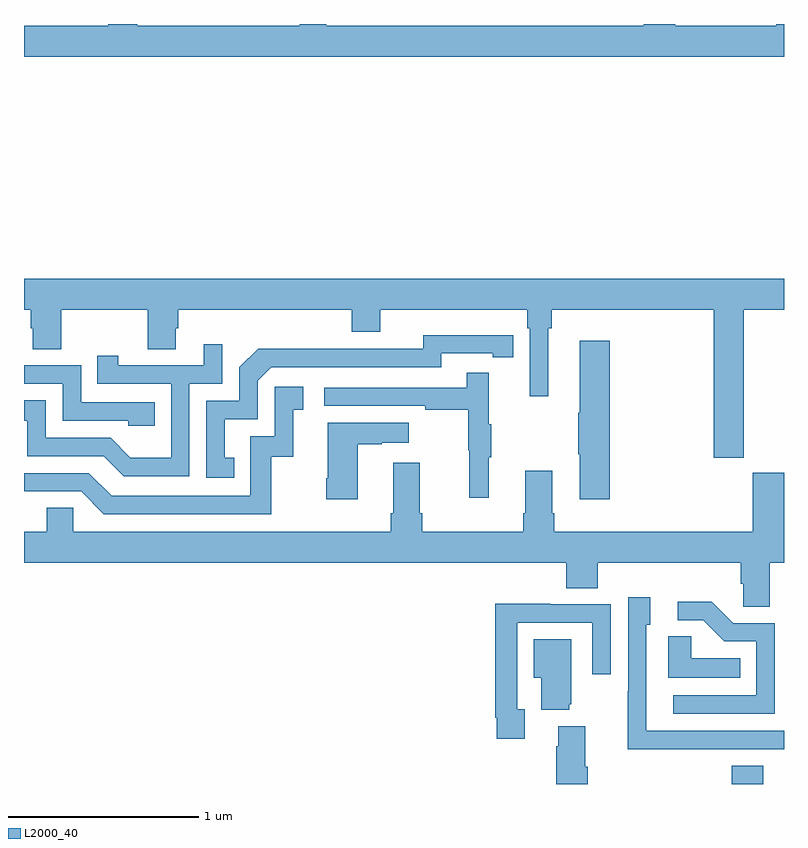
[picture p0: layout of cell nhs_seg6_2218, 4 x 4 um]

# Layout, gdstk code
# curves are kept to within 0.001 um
import gdstk
lib = gdstk.Library(unit=1e-6, precision=1e-09)
def R(c, l, rs):  # rectangles x0, y0, x1, y1
    for r in rs: c.add(gdstk.rectangle(r[:2], r[2:], *l))
def P(c, l, *ps):  # polygons
    for p in ps: c.add(gdstk.Polygon(p, *l))
L2000_40 = (2000, 40)

nhs_seg6_2218 = lib.new_cell('nhs_seg6_2218')
R(nhs_seg6_2218, L2000_40, [(246.725,951.5,246.89,951.595)])
P(nhs_seg6_2218, L2000_40, [(247,955.5),(246.959,955.5),(246.959,955.492),(246.428,955.492),(246.428,955.5),(246.263,955.5),(246.263,955.492),(244.59,955.492),(244.59,955.5),(244.451,955.5),(244.451,955.492),(243.595,955.492),(243.595,955.5),(243.443,955.5),(243.443,955.492),(243,955.492),(243,955.328),(247,955.328)],
  [(246.789,953.996),(247,953.996),(247,954.16),(243,954.16),(243,953.996),(243.035,953.996),(243.035,953.898),(243.047,953.898),(243.047,953.788),(243.195,953.788),(243.195,953.996),(243.652,953.996),(243.652,953.788),(243.799,953.788),(243.799,953.898),(243.812,953.898),(243.812,953.996),(244.724,953.996),(244.724,953.879),(244.876,953.879),(244.876,953.996),(245.648,953.996),(245.648,953.9),(245.661,953.9),(245.661,953.541),(245.758,953.541),(245.758,953.9),(245.777,953.9),(245.777,953.996),(246.629,953.996),(246.629,953.217),(246.789,953.217)],
  [(244.106,953.217),(244.057,953.217),(244.057,953.421),(244.23,953.421),(244.23,953.622),(244.302,953.694),(245.196,953.694),(245.196,953.766),(245.468,953.766),(245.468,953.746),(245.576,953.746),(245.576,953.862),(245.1,953.863),(245.1,953.79),(244.64,953.79),(244.64,953.792),(244.232,953.792),(244.134,953.694),(244.134,953.517),(243.96,953.517),(243.96,953.112),(244.106,953.112)],
  [(246.083,953.833),(245.924,953.833),(245.924,953.453),(245.917,953.453),(245.917,953.236),(245.924,953.236),(245.924,952.998),(246.083,952.998)],
  [(243.87,953.607),(244.044,953.607),(244.044,953.815),(243.947,953.815),(243.947,953.703),(243.496,953.703),(243.496,953.755),(243.385,953.755),(243.385,953.607),(243.774,953.607),(243.774,953.218),(243.56,953.218),(243.456,953.322),(243.114,953.322),(243.114,953.521),(243,953.521),(243,953.411),(243.016,953.411),(243.016,953.226),(243.419,953.226),(243.524,953.121),(243.87,953.121)],
  [(243.689,953.508),(243.3,953.508),(243.3,953.703),(243,953.703),(243,953.607),(243.204,953.607),(243.204,953.412),(243.549,953.412),(243.549,953.385),(243.689,953.385)],
  [(245.447,953.219),(245.458,953.219),(245.458,953.393),(245.447,953.393),(245.447,953.665),(245.329,953.665),(245.329,953.586),(244.581,953.586),(244.581,953.49),(245.113,953.49),(245.113,953.47),(245.337,953.47),(245.337,953.256),(245.344,953.256),(245.344,953.007),(245.447,953.007)],
  [(244.3,953.223),(244.418,953.223),(244.418,953.469),(244.471,953.469),(244.471,953.59),(244.32,953.59),(244.32,953.331),(244.191,953.331),(244.191,953.016),(243.462,953.016),(243.342,953.136),(243,953.136),(243,953.04),(243.3,953.04),(243.42,952.92),(244.3,952.92)],
  [(244.756,953.287),(244.883,953.287),(244.883,953.297),(245.026,953.297),(245.026,953.401),(244.598,953.401),(244.598,953.11),(244.591,953.11),(244.591,952.998),(244.756,952.998)],
  [(246.925,952.664),(247,952.664),(247,953.137),(246.836,953.137),(246.836,952.828),(245.792,952.828),(245.792,952.924),(245.779,952.924),(245.779,953.149),(245.639,953.149),(245.639,952.924),(245.627,952.924),(245.627,952.828),(245.096,952.828),(245.096,952.924),(245.083,952.924),(245.083,953.191),(244.943,953.191),(244.943,952.924),(244.931,952.924),(244.931,952.828),(243.258,952.828),(243.258,952.955),(243.119,952.955),(243.119,952.828),(243,952.828),(243,952.664),(245.855,952.664),(245.855,952.531),(246.02,952.531),(246.02,952.664),(246.773,952.664),(246.773,952.555),(246.786,952.555),(246.786,952.432),(246.925,952.432)],
  [(246.641,951.684),(247,951.684),(247,951.78),(246.276,951.78),(246.276,952.338),(246.295,952.338),(246.295,952.483),(246.18,952.483),(246.18,951.989),(246.178,951.989),(246.178,951.683),(246.641,951.683)],
  [(246.951,952.347),(246.732,952.347),(246.619,952.46),(246.441,952.46),(246.441,952.362),(246.575,952.362),(246.686,952.251),(246.855,952.251),(246.855,951.966),(246.417,951.966),(246.417,951.87),(246.951,951.87)],
  [(245.635,951.894),(245.595,951.894),(245.595,952.35),(245.991,952.35),(245.991,952.077),(246.087,952.077),(246.087,952.446),(245.771,952.446),(245.771,952.448),(245.479,952.448),(245.479,951.85),(245.487,951.85),(245.487,951.738),(245.635,951.738)],
  [(246.77,952.162),(246.513,952.162),(246.513,952.277),(246.392,952.277),(246.392,952.058),(246.77,952.058)],
  [(245.87,951.921),(245.881,951.921),(245.881,952.261),(245.684,952.261),(245.684,952.058),(245.723,952.058),(245.723,951.89),(245.87,951.89)],
  [(245.966,951.592),(245.953,951.592),(245.953,951.805),(245.813,951.805),(245.813,951.698),(245.801,951.698),(245.801,951.5),(245.966,951.5)])

lib.write_gds('nhs_seg6_2218.gds')
